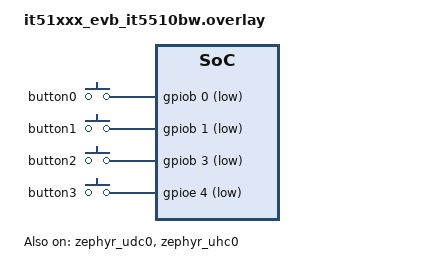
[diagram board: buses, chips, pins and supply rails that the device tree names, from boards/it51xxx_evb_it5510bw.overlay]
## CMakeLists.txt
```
# Copyright (c) 2022 Nordic Semiconductor ASA
# SPDX-License-Identifier: Apache-2.0

cmake_minimum_required(VERSION 3.28.0)
find_package(Zephyr REQUIRED HINTS $ENV{ZEPHYR_BASE})
project(usb-shell)

include(${ZEPHYR_BASE}/samples/subsys/usb/common/common.cmake)
FILE(GLOB app_sources src/*.c)
target_sources(app PRIVATE ${app_sources})
```

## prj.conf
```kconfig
CONFIG_SHELL=y
CONFIG_USB_DEVICE_STACK_NEXT=y
CONFIG_USBD_SHELL=y
CONFIG_USBD_LOOPBACK_CLASS=y
CONFIG_USBD_MSC_CLASS=y

CONFIG_LOG=y
CONFIG_USBD_LOG_LEVEL_WRN=y
CONFIG_UDC_DRIVER_LOG_LEVEL_WRN=y

CONFIG_UART_INTERRUPT_DRIVEN=y
CONFIG_STDOUT_CONSOLE=y
CONFIG_SERIAL=y
CONFIG_UART_LINE_CTRL=y
CONFIG_USBD_CDC_ACM_CLASS=y
CONFIG_LOG=y
CONFIG_USBD_LOG_LEVEL_WRN=y
CONFIG_UDC_DRIVER_LOG_LEVEL_WRN=y
CONFIG_UDC_BUF_POOL_SIZE=2048
```

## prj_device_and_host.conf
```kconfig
CONFIG_SHELL=y
CONFIG_USB_DEVICE_STACK_NEXT=y
CONFIG_USBD_SHELL=y

CONFIG_USB_HOST_STACK=y
CONFIG_USBH_SHELL=y

CONFIG_LOG=y
CONFIG_USBD_LOG_LEVEL_WRN=y
CONFIG_USBH_LOG_LEVEL_WRN=y
CONFIG_UDC_DRIVER_LOG_LEVEL_WRN=y
CONFIG_UHC_DRIVER_LOG_LEVEL_WRN=y

CONFIG_LOG=y
CONFIG_USBD_LOG_LEVEL_WRN=y
CONFIG_UDC_DRIVER_LOG_LEVEL_WRN=y

CONFIG_USBD_HID_LOG_LEVEL_WRN=y

CONFIG_GPIO=y
CONFIG_INPUT=y

CONFIG_SAMPLE_USBD_PID=0x0007
```

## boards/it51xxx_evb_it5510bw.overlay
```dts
/*
 * Copyright (c) 2026 ITE Corporation. All Rights Reserved.
 *
 * SPDX-License-Identifier: Apache-2.0
 */

#include <zephyr/dt-bindings/input/input-event-codes.h>

/ {

	buttons {
		compatible = "gpio-keys";

		button0: button_0 {
			gpios = <&gpiob 0 (GPIO_PULL_UP | GPIO_ACTIVE_LOW)>;
			zephyr,code = <INPUT_KEY_0>;
		};
		button1: button_1 {
			gpios = <&gpiob 1 (GPIO_PULL_UP | GPIO_ACTIVE_LOW)>;
			zephyr,code = <INPUT_KEY_1>;
		};
		button2: button_2 {
			gpios = <&gpiob 3 (GPIO_PULL_UP | GPIO_ACTIVE_LOW)>;
			zephyr,code = <INPUT_KEY_2>;
		};
		button3: button_3 {
			gpios = <&gpioe 4 (GPIO_PULL_UP | GPIO_ACTIVE_LOW)>;
			zephyr,code = <INPUT_KEY_3>;
		};
	};

	hid_dev_0: hid_dev_0 {
		compatible = "zephyr,hid-device";
		label = "HID0";
		protocol-code = "none";
		in-polling-period-us = <1000>;
		in-report-size = <64>;
	};
};

&zephyr_udc0 {
	status = "okay";
	pinctrl-0 = <&udc_dm_gpf4_default &udc_dp_gpf5_default>;
	pinctrl-names = "default";
};

&zephyr_uhc0 {
	status = "okay";

	pinctrl-0 = <&uhc_ym_gpf2_default &uhc_yp_gpf3_default>;
	pinctrl-names = "default";
};

&ecpm {
	pll-frequency = <PLL_96000_KHZ>;
};
```

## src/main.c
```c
/*
 * Copyright (c) 2022 Nordic Semiconductor ASA
 *
 * SPDX-License-Identifier: Apache-2.0
 */

#include <sample_usbd.h>

#include <string.h>

#include <zephyr/kernel.h>
#include <zephyr/device.h>
#include <zephyr/drivers/gpio.h>
#include <zephyr/drivers/usb/usb_bc12.h>
#include <zephyr/input/input.h>
#include <zephyr/sys/util.h>

#include <zephyr/usb/usbd.h>
#include <zephyr/usb/class/usbd_hid.h>
#include <zephyr/kernel.h>
#include <zephyr/usb/usbh.h>

#include <zephyr/logging/log.h>
LOG_MODULE_REGISTER(main, LOG_LEVEL_INF);

#if CONFIG_USB_HOST_STACK
USBH_CONTROLLER_DEFINE(sample_uhs_ctx, DEVICE_DT_GET(DT_NODELABEL(zephyr_uhc0)));
#endif
static const uint8_t hid_report_desc[] = HID_MOUSE_REPORT_DESC(2);

#define MOUSE_BTN_LEFT		0
#define MOUSE_BTN_RIGHT		1

enum mouse_report_idx {
	MOUSE_BTN_REPORT_IDX = 0,
	MOUSE_X_REPORT_IDX = 1,
	MOUSE_Y_REPORT_IDX = 2,
	MOUSE_WHEEL_REPORT_IDX = 3,
	MOUSE_REPORT_COUNT = 4,
};

K_MSGQ_DEFINE(mouse_msgq, MOUSE_REPORT_COUNT, 2, 1);
static bool mouse_ready;

static void input_cb(struct input_event *evt, void *user_data)
{
	static uint8_t tmp[MOUSE_REPORT_COUNT];

	ARG_UNUSED(user_data);

	switch (evt->code) {
	case INPUT_KEY_0:
		WRITE_BIT(tmp[MOUSE_BTN_REPORT_IDX], MOUSE_BTN_LEFT, evt->value);
		break;
	case INPUT_KEY_1:
		WRITE_BIT(tmp[MOUSE_BTN_REPORT_IDX], MOUSE_BTN_RIGHT, evt->value);
		break;
	case INPUT_KEY_2:
		if (evt->value) {
			tmp[MOUSE_X_REPORT_IDX] += 10U;
		}

		break;
	case INPUT_KEY_3:
		if (evt->value) {
			tmp[MOUSE_Y_REPORT_IDX] += 10U;
		}

		break;
	default:
		LOG_INF("Unrecognized input code %u value %d",
			evt->code, evt->value);
		return;
	}

	if (k_msgq_put(&mouse_msgq, tmp, K_NO_WAIT) != 0) {
		LOG_ERR("Failed to put new input event");
	}

	tmp[MOUSE_X_REPORT_IDX] = 0U;
	tmp[MOUSE_Y_REPORT_IDX] = 0U;

}

INPUT_CALLBACK_DEFINE(NULL, input_cb, NULL);

static void mouse_iface_ready(const struct device *dev, const bool ready)
{
	LOG_INF("HID device %s interface is %s",
		dev->name, ready ? "ready" : "not ready");
	mouse_ready = ready;
}

static int mouse_get_report(const struct device *dev,
			 const uint8_t type, const uint8_t id, const uint16_t len,
			 uint8_t *const buf)
{
	LOG_WRN("Get Report not implemented, Type %u ID %u", type, id);

	return 0;
}

struct hid_device_ops mouse_ops = {
	.iface_ready = mouse_iface_ready,
	.get_report = mouse_get_report,
};

int main(void)
{	struct usbd_context *sample_usbd;
	const struct device *hid_dev;
	int ret;

	hid_dev = DEVICE_DT_GET_ONE(zephyr_hid_device);
	if (!device_is_ready(hid_dev)) {
		LOG_ERR("HID Device is not ready");
		return -EIO;
	}

	ret = hid_device_register(hid_dev,
				  hid_report_desc, sizeof(hid_report_desc),
				  &mouse_ops);
	if (ret != 0) {
		LOG_ERR("Failed to register HID Device, %d", ret);
		return ret;
	}

	sample_usbd = sample_usbd_init_device(NULL);
	if (sample_usbd == NULL) {
		LOG_ERR("Failed to initialize USB device");
		return -ENODEV;
	}

	ret = usbd_enable(sample_usbd);
	if (ret != 0) {
		LOG_ERR("Failed to enable device support");
		return ret;
	}

	LOG_DBG("USB device support enabled");

	while (true) {
		UDC_STATIC_BUF_DEFINE(report, MOUSE_REPORT_COUNT);

		k_msgq_get(&mouse_msgq, &report, K_FOREVER);

		if (!mouse_ready) {
			LOG_INF("USB HID device is not ready");
			continue;
		}

		ret = hid_device_submit_report(hid_dev, MOUSE_REPORT_COUNT, report);
		if (ret) {
			LOG_ERR("HID submit report error, %d", ret);
		}
	}

	return 0;
}
```
